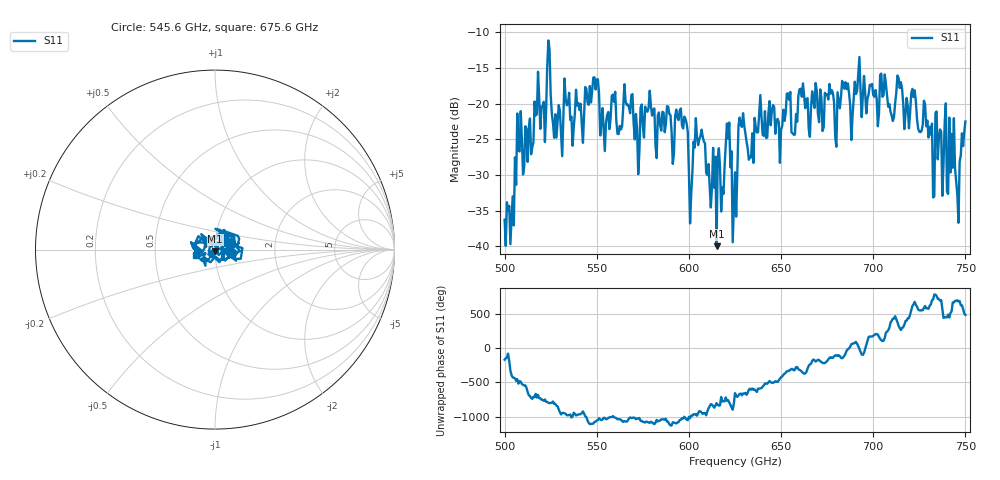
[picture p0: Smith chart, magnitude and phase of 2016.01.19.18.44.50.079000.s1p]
!Created with skrf (http://scikit-rf.org).
# GHz S RI R 50.0
!freq ReS11 ImS11
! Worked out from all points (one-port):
!   401 points, 500 GHz to 750 GHz, reference 50 ohm
!   lowest |S11| = -40.0 dB at 615 GHz (marker M1), VSWR 1.02, Z = 50.1 - j0.996 ohm
!   |S11| at or under -10 dB: start of sweep to end of sweep
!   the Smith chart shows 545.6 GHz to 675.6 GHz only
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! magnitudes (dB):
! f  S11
! 500 GHz  -36.3
! 503.8 GHz  -36.3
! 508.1 GHz  -26.7
! 520.6 GHz  -20.4
! 523.8 GHz  -11.1
! 526.9 GHz  -24.8
! 531.2 GHz  -27.4
! 549.4 GHz  -18.0
! 553.1 GHz  -20.6
! 558.8 GHz  -18.7
! 562.5 GHz  -23.1
! 593.8 GHz  -21.9
! 598.1 GHz  -22.1
! 601.2 GHz  -32.6
! 605 GHz  -25.8
! 615 GHz  -40.0
! 621.9 GHz  -22.6
! 625 GHz  -29.6
! 628.1 GHz  -23.0
! 633.8 GHz  -27.5
! 638.1 GHz  -21.3
! 656.2 GHz  -24.2
! 660.6 GHz  -17.9
! 687.5 GHz  -20.2
! 718.8 GHz  -20.4
! 742.5 GHz  -24.2
! 745.6 GHz  -32.7
! 750 GHz  -22.5
